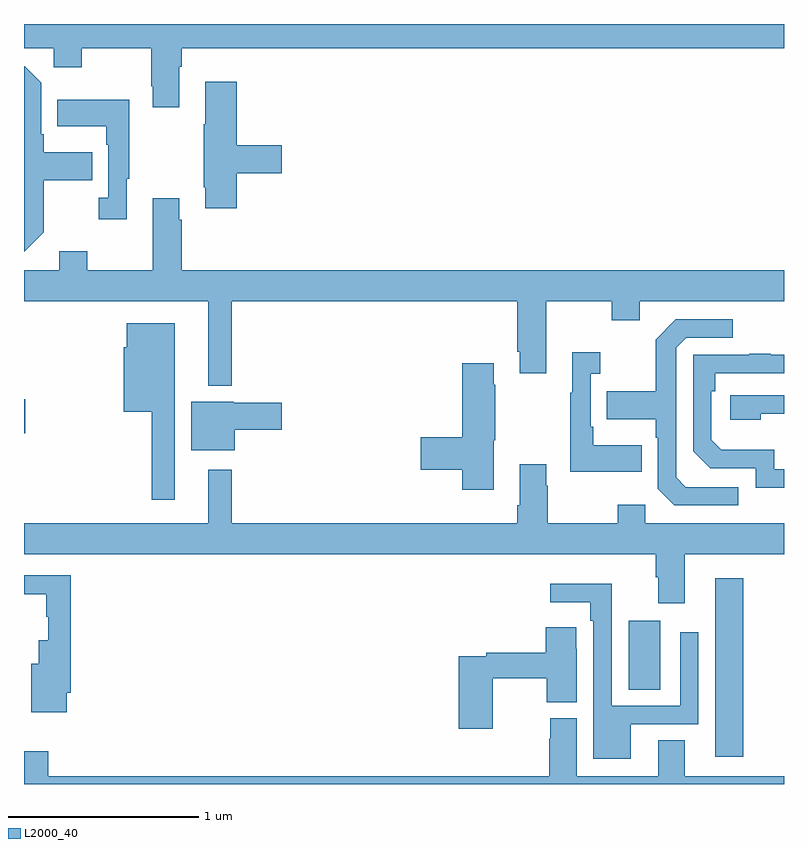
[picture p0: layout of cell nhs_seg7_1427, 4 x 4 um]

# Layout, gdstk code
import gdstk
lib = gdstk.Library(unit=1e-6, precision=1e-09)
def R(c, l, rs):  # rectangles x0, y0, x1, y1
    for r in rs: c.add(gdstk.rectangle(r[:2], r[2:], *l))
def P(c, l, *ps):  # polygons
    for p in ps: c.add(gdstk.Polygon(p, *l))
L2000_40 = (2000, 40)

nhs_seg7_1427 = lib.new_cell('nhs_seg7_1427')
R(nhs_seg7_1427, L2000_40, [(210.638,1074.144,210.785,1075.084), (210.182,1074.496,210.349,1074.859), (207,1075.846,207.007,1076.024)])
P(nhs_seg7_1427, L2000_40, [(207.817,1077.776),(207.83,1077.776),(207.83,1077.872),(211,1077.872),(211,1078),(207,1078),(207,1077.872),(207.156,1077.872),(207.156,1077.773),(207.303,1077.773),(207.303,1077.872),(207.67,1077.872),(207.67,1077.673),(207.677,1077.673),(207.677,1077.561),(207.817,1077.561)],
  [(207.103,1076.905),(207.103,1077.178),(207.359,1077.178),(207.359,1077.325),(207.103,1077.325),(207.103,1077.421),(207.09,1077.421),(207.09,1077.69),(207.003,1077.777),(207,1077.777),(207,1076.802)],
  [(208.121,1077.215),(208.357,1077.215),(208.357,1077.362),(208.121,1077.362),(208.121,1077.697),(207.953,1077.697),(207.953,1077.473),(207.946,1077.473),(207.946,1077.142),(207.953,1077.142),(207.953,1077.03),(208.121,1077.03)],
  [(207.541,1077.185),(207.553,1077.185),(207.553,1077.601),(207.175,1077.601),(207.175,1077.461),(207.432,1077.461),(207.432,1077.365),(207.444,1077.365),(207.444,1077.086),(207.393,1077.086),(207.393,1076.973),(207.541,1076.973)],
  [(208.093,1076.54),(209.597,1076.54),(209.597,1076.275),(209.609,1076.275),(209.609,1076.163),(209.749,1076.163),(209.749,1076.54),(210.094,1076.54),(210.094,1076.441),(210.241,1076.441),(210.241,1076.54),(211,1076.54),(211,1076.704),(207.83,1076.704),(207.83,1076.969),(207.817,1076.969),(207.817,1077.082),(207.677,1077.082),(207.677,1076.704),(207.333,1076.704),(207.333,1076.803),(207.185,1076.803),(207.185,1076.704),(207,1076.704),(207,1076.54),(207.971,1076.54),(207.971,1076.096),(208.093,1076.096)],
  [(210.76,1075.563),(210.483,1075.563),(210.432,1075.614),(210.432,1076.295),(210.486,1076.349),(210.73,1076.349),(210.73,1076.445),(210.429,1076.445),(210.324,1076.339),(210.324,1076.067),(210.067,1076.067),(210.067,1075.919),(210.324,1075.919),(210.324,1075.823),(210.336,1075.823),(210.336,1075.554),(210.423,1075.467),(210.76,1075.467)],
  [(207.793,1076.425),(207.542,1076.425),(207.542,1076.298),(207.524,1076.298),(207.524,1075.958),(207.672,1075.958),(207.672,1075.497),(207.793,1075.497)],
  [(210.251,1075.783),(209.995,1075.783),(209.995,1075.879),(209.982,1075.879),(209.982,1076.159),(210.034,1076.159),(210.034,1076.272),(209.885,1076.272),(209.885,1076.059),(209.874,1076.059),(209.874,1075.643),(210.251,1075.643)],
  [(211,1075.656),(210.948,1075.656),(210.948,1075.759),(210.671,1075.759),(210.618,1075.812),(210.618,1076.066),(210.638,1076.066),(210.638,1076.163),(211,1076.163),(211,1076.259),(210.929,1076.259),(210.929,1076.264),(210.817,1076.264),(210.817,1076.259),(210.522,1076.259),(210.522,1075.752),(210.612,1075.662),(210.852,1075.662),(210.852,1075.56),(211,1075.56)],
  [(209.473,1075.809),(209.481,1075.809),(209.481,1076.102),(209.473,1076.102),(209.473,1076.215),(209.306,1076.215),(209.306,1075.826),(209.088,1075.826),(209.088,1075.655),(209.306,1075.655),(209.306,1075.548),(209.473,1075.548)],
  [(210.878,1075.95),(211,1075.95),(211,1076.046),(210.717,1076.046),(210.717,1075.916),(210.878,1075.916)],
  [(208.108,1075.864),(208.357,1075.864),(208.357,1076.006),(208.104,1076.006),(208.104,1076.011),(207.881,1076.011),(207.881,1075.757),(208.108,1075.757)],
  [(210.478,1075.208),(211,1075.208),(211,1075.372),(210.27,1075.372),(210.27,1075.471),(210.124,1075.471),(210.124,1075.372),(209.757,1075.372),(209.757,1075.571),(209.749,1075.571),(209.749,1075.684),(209.609,1075.684),(209.609,1075.468),(209.597,1075.468),(209.597,1075.372),(208.093,1075.372),(208.093,1075.654),(207.971,1075.654),(207.971,1075.372),(207,1075.372),(207,1075.208),(210.326,1075.208),(210.326,1075.088),(210.338,1075.088),(210.338,1074.951),(210.478,1074.951)],
  [(207.226,1074.481),(207.245,1074.481),(207.245,1075.098),(207,1075.098),(207,1075),(207.117,1075),(207.117,1074.879),(207.128,1074.879),(207.128,1074.757),(207.077,1074.757),(207.077,1074.634),(207.038,1074.634),(207.038,1074.377),(207.226,1074.377)],
  [(210.193,1074.315),(210.549,1074.315),(210.549,1074.799),(210.453,1074.799),(210.453,1074.411),(210.093,1074.411),(210.093,1075.054),(209.769,1075.054),(209.769,1074.956),(209.981,1074.956),(209.981,1074.86),(209.997,1074.86),(209.997,1074.134),(210.193,1074.134)],
  [(209.466,1074.556),(209.752,1074.556),(209.752,1074.43),(209.908,1074.43),(209.908,1074.713),(209.907,1074.713),(209.907,1074.826),(209.747,1074.826),(209.747,1074.692),(209.434,1074.692),(209.434,1074.672),(209.288,1074.672),(209.288,1074.291),(209.466,1074.291)],
  [(211,1074.04),(210.478,1074.04),(210.478,1074.23),(210.338,1074.23),(210.338,1074.04),(209.908,1074.04),(209.908,1074.345),(209.77,1074.345),(209.77,1074.239),(209.765,1074.239),(209.765,1074.04),(207.128,1074.04),(207.128,1074.172),(207,1074.172),(207,1074),(211,1074)])

lib.write_gds('nhs_seg7_1427.gds')
